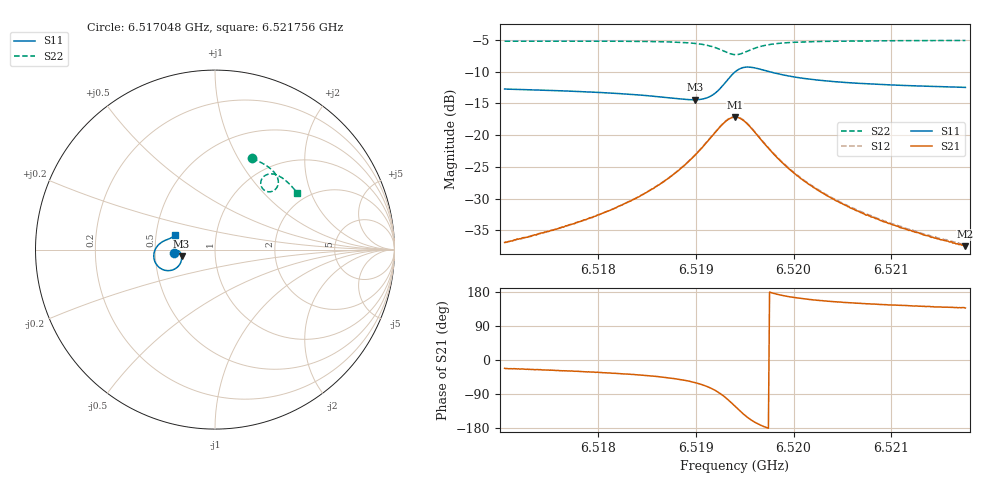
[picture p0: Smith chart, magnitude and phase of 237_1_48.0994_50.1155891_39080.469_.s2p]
#  HZ  S  RI  R  50.00
! Rohde & Schwarz Vector Network Analyzer
! Rohde-Schwarz,ZNB20-2Port,1311601062101988,3.16
! Created: UTC 12/23/2023, 3:58:22 AM
! freq[Hz]  re:S11  im:S11  re:S21  im:S21  re:S12  im:S12  re:S22  im:S22
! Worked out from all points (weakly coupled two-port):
!   401 points, 6.517048 GHz to 6.521756 GHz, reference 50 ohm
!   highest |S21| = -17.16 dB at 6.519402 GHz (marker M1); lowest = -37.5 dB at 6.521756 GHz (marker M2)
!   lowest |S11| = -14.4 dB at 6.51899 GHz (marker M3), VSWR 1.47, Z = 34.2 - j2.54 ohm
!   |S11| at or under -10 dB: start of sweep to 6.519406 GHz; 6.51975 GHz to end of sweep
!   |S22| runs from -7.3 to -5.1 dB; largest |S21 - S12| = 0.0043
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6.517048e9  -0.23 -0.0162  0.0133 -0.00534  0.0133 -0.00495  0.2066 0.508
6.5175187e9  -0.2246 -0.00949  0.0159 -0.00797  0.016 -0.00755  0.2412 0.4929
6.5178365e9  -0.2199 -0.00594  0.0182 -0.0108  0.0185 -0.0102  0.2648 0.4806
6.5182366e9  -0.2118 -0.00399  0.0226 -0.0166  0.0232 -0.0158  0.2946 0.4618
6.5184132e9  -0.2072 -0.00491  0.0252 -0.0206  0.0259 -0.0199  0.3081 0.4517
6.518625e9  -0.2003 -0.00889  0.0292 -0.0283  0.0303 -0.0274  0.3246 0.4365
6.5188251e9  -0.1925 -0.0186  0.0333 -0.0408  0.0347 -0.04  0.3402 0.4169
6.5189898e9  -0.1864 -0.0358  0.0352 -0.0593  0.0371 -0.0587  0.3508 0.3936
6.5190958e9  -0.1863 -0.0554  0.0318 -0.0784  0.0345 -0.0781  0.3528 0.3724
6.5191782e9  -0.1934 -0.0771  0.0219 -0.098  0.0252 -0.0983  0.348 0.3519
6.5193076e9  -0.2363 -0.1133  -0.0216 -0.1268  -0.0181 -0.1284  0.3147 0.3235
6.5194018e9  -0.2943 -0.1098  -0.0735 -0.1176  -0.0707 -0.1207  0.2747 0.3309
6.5194606e9  -0.3244 -0.0851  -0.0976 -0.0929  -0.0957 -0.0964  0.2581 0.3518
6.5195195e9  -0.3392 -0.0529  -0.107 -0.0633  -0.1061 -0.0669  0.2552 0.3762
6.5196136e9  -0.3368 -0.00878  -0.1001 -0.0258  -0.1003 -0.0288  0.2692 0.4048
6.5197195e9  -0.3202 0.0208  -0.0827 -0.00304  -0.0833 -0.00544  0.2922 0.4188
6.5199431e9  -0.289 0.0459  -0.0539 0.0119  -0.0547 0.0106  0.3312 0.4196
6.5201903e9  -0.2686 0.0552  -0.0369 0.0143  -0.0377 0.0132  0.3602 0.4083
6.5205787e9  -0.2503 0.0626  -0.0234 0.0129  -0.0242 0.0125  0.3921 0.3863
6.5209788e9  -0.2391 0.0683  -0.0166 0.0114  -0.0172 0.0111  0.418 0.3624
6.5213201e9  -0.2319 0.0729  -0.0129 0.0102  -0.0135 0.01  0.4368 0.3417
6.5217556e9  -0.224 0.0789  -0.0098 0.00909  -0.0104 0.00901  0.4585 0.3146
